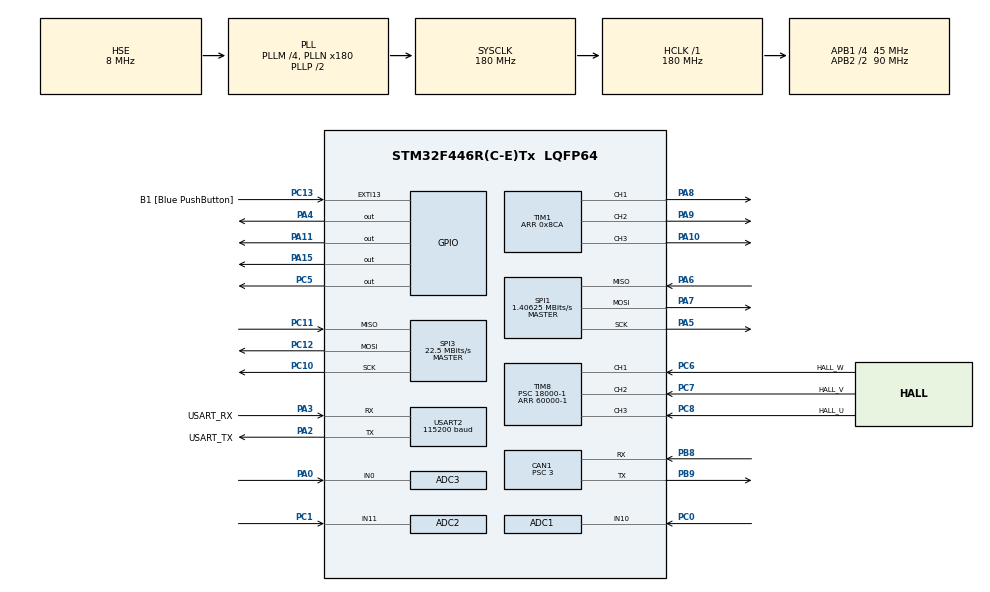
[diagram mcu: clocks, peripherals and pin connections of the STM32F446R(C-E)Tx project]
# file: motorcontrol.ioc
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ADC1.Channel-0\#ChannelRegularConversion=ADC_CHANNEL_10
ADC1.ClockPrescaler=ADC_CLOCK_SYNC_PCLK_DIV4
ADC1.EOCSelection=ADC_EOC_SEQ_CONV
ADC1.ExternalTrigConv=ADC_SOFTWARE_START
ADC1.Mode=ADC_TRIPLEMODE_REGSIMULT
ADC1.NbrOfConversion=1
ADC1.NbrOfConversionFlag=1
ADC1.Rank-0\#ChannelRegularConversion=1
ADC1.SamplingTime-0\#ChannelRegularConversion=ADC_SAMPLETIME_3CYCLES
ADC1.master=1
ADC2.Channel-0\#ChannelRegularConversion=ADC_CHANNEL_11
ADC2.ClockPrescaler=ADC_CLOCK_SYNC_PCLK_DIV4
ADC2.EOCSelection=ADC_EOC_SEQ_CONV
ADC2.Mode=ADC_TRIPLEMODE_REGSIMULT
ADC2.NbrOfConversionFlag=1
ADC2.Rank-0\#ChannelRegularConversion=1
ADC2.SamplingTime-0\#ChannelRegularConversion=ADC_SAMPLETIME_3CYCLES
ADC3.Channel-2\#ChannelRegularConversion=ADC_CHANNEL_0
ADC3.ClockPrescaler=ADC_CLOCK_SYNC_PCLK_DIV4
ADC3.EOCSelection=ADC_EOC_SEQ_CONV
ADC3.Mode=ADC_TRIPLEMODE_REGSIMULT
ADC3.NbrOfConversionFlag=1
ADC3.Rank-2\#ChannelRegularConversion=1
ADC3.SamplingTime-2\#ChannelRegularConversion=ADC_SAMPLETIME_3CYCLES
CAN1.BS1=CAN_BS1_12TQ
CAN1.BS2=CAN_BS2_2TQ
CAN1.CalculateBaudRate=1000000
CAN1.CalculateTimeBit=1000
CAN1.CalculateTimeQuantum=66.66666666666666
CAN1.Prescaler=3
Mcu.Family=STM32F4
Mcu.Name=STM32F446R(C-E)Tx
Mcu.Package=LQFP64
NVIC.CAN1_RX0_IRQn=true\:0\:0\:false\:false\:true\:true\:true\:true
NVIC.PriorityGroup=NVIC_PRIORITYGROUP_0
NVIC.TIM1_UP_TIM10_IRQn=true\:0\:0\:false\:false\:true\:true\:true\:true
NVIC.TIM8_CC_IRQn=true\:0\:0\:false\:false\:true\:true\:true\:true
NVIC.USART2_IRQn=true\:0\:0\:false\:false\:true\:true\:true\:true
PA0-WKUP.Signal=ADCx_IN0
PA10.GPIO_Speed=GPIO_SPEED_FREQ_VERY_HIGH
PA10.Signal=S_TIM1_CH3
PA11.GPIO_Speed=GPIO_SPEED_FREQ_VERY_HIGH
PA11.Signal=GPIO_Output
PA13.GPIO_Label=TMS
PA13.Mode=Serial_Wire
PA13.Signal=SYS_JTMS-SWDIO
PA14.GPIO_Label=TCK
PA14.Mode=Serial_Wire
PA14.Signal=SYS_JTCK-SWCLK
PA15.GPIO_Speed=GPIO_SPEED_FREQ_VERY_HIGH
PA15.Signal=GPIO_Output
PA2.GPIO_Label=USART_TX
PA2.Mode=Asynchronous
PA2.Signal=USART2_TX
PA3.GPIO_Label=USART_RX
PA3.Mode=Asynchronous
PA3.Signal=USART2_RX
PA4.GPIO_Speed=GPIO_SPEED_FREQ_VERY_HIGH
PA4.Signal=GPIO_Output
PA5.Mode=Full_Duplex_Master
PA5.Signal=SPI1_SCK
PA6.Mode=Full_Duplex_Master
PA6.Signal=SPI1_MISO
PA7.Mode=Full_Duplex_Master
PA7.Signal=SPI1_MOSI
PA8.GPIO_Speed=GPIO_SPEED_FREQ_VERY_HIGH
PA8.Signal=S_TIM1_CH1
PA9.GPIO_Speed=GPIO_SPEED_FREQ_VERY_HIGH
PA9.Signal=S_TIM1_CH2
PB3.GPIO_Label=SWO
PB3.Signal=SYS_JTDO-SWO
PB8.Mode=CAN_Activate
PB8.Signal=CAN1_RX
PB9.Mode=CAN_Activate
PB9.Signal=CAN1_TX
PC0.Signal=ADCx_IN10
PC1.Signal=ADCx_IN11
PC10.Mode=Full_Duplex_Master
PC10.Signal=SPI3_SCK
PC11.Mode=Full_Duplex_Master
PC11.Signal=SPI3_MISO
PC12.Mode=Full_Duplex_Master
PC12.Signal=SPI3_MOSI
PC13.GPIO_Label=B1 [Blue PushButton]
PC13.GPIO_ModeDefaultEXTI=GPIO_MODE_IT_FALLING
PC13.Signal=GPXTI13
PC5.GPIO_Speed=GPIO_SPEED_FREQ_VERY_HIGH
PC5.Signal=GPIO_Output
PC6.GPIO_Label=HALL_W
PC6.GPIO_PuPd=GPIO_PULLUP
PC6.Signal=S_TIM8_CH1
PC7.GPIO_Label=HALL_V
PC7.GPIO_PuPd=GPIO_PULLUP
PC7.Signal=S_TIM8_CH2
PC8.GPIO_Label=HALL_U
PC8.GPIO_PuPd=GPIO_PULLUP
PC8.Signal=S_TIM8_CH3
PH0-OSC_IN.Mode=HSE-External-Oscillator
PH0-OSC_IN.Signal=RCC_OSC_IN
PH1-OSC_OUT.Mode=HSE-External-Oscillator
PH1-OSC_OUT.Signal=RCC_OSC_OUT
ProjectManager.HeapSize=0x200
ProjectManager.StackSize=0x400
ProjectManager.TargetToolchain=STM32CubeIDE
RCC.48MHZClocksFreq_Value=84000000
RCC.AHBFreq_Value=180000000
RCC.APB1CLKDivider=RCC_HCLK_DIV4
RCC.APB1Freq_Value=45000000
RCC.APB1TimFreq_Value=90000000
RCC.APB2CLKDivider=RCC_HCLK_DIV2
RCC.APB2Freq_Value=90000000
RCC.APB2TimFreq_Value=180000000
RCC.CortexFreq_Value=180000000
RCC.FLatency-AdvancedSettings=FLASH_LATENCY_5
RCC.HCLKFreq_Value=180000000
RCC.HSE_VALUE=8000000
RCC.HSI_VALUE=16000000
RCC.PLLM=4
RCC.PLLN=180
RCC.PLLSourceVirtual=RCC_PLLSOURCE_HSE
RCC.SYSCLKFreq_VALUE=180000000
RCC.SYSCLKSource=RCC_SYSCLKSOURCE_PLLCLK
RCC.USBFreq_Value=180000000
RCC.VCOOutputFreq_Value=360000000
SH.ADCx_IN0.0=ADC3_IN0,IN0
SH.ADCx_IN10.0=ADC1_IN10,IN10
SH.ADCx_IN11.0=ADC2_IN11,IN11
SH.S_TIM1_CH1.0=TIM1_CH1,PWM Generation1 CH1
SH.S_TIM1_CH2.0=TIM1_CH2,PWM Generation2 CH2
SH.S_TIM1_CH3.0=TIM1_CH3,PWM Generation3 CH3
SH.S_TIM8_CH1.0=TIM8_CH1,Xored_Inputs_Hall_Sensor_Interface
SH.S_TIM8_CH2.0=TIM8_CH2,Xored_Inputs_Hall_Sensor_Interface
SH.S_TIM8_CH3.0=TIM8_CH3,Xored_Inputs_Hall_Sensor_Interface
SPI1.BaudRatePrescaler=SPI_BAUDRATEPRESCALER_64
SPI1.CLKPhase=SPI_PHASE_2EDGE
SPI1.CalculateBaudRate=1.40625 MBits/s
SPI1.DataSize=SPI_DATASIZE_16BIT
SPI1.Direction=SPI_DIRECTION_2LINES
SPI1.FirstBit=SPI_FIRSTBIT_MSB
SPI1.Mode=SPI_MODE_MASTER
SPI1.VirtualType=VM_MASTER
SPI3.BaudRatePrescaler=SPI_BAUDRATEPRESCALER_2
SPI3.CalculateBaudRate=22.5 MBits/s
SPI3.DataSize=SPI_DATASIZE_16BIT
SPI3.Direction=SPI_DIRECTION_2LINES
SPI3.Mode=SPI_MODE_MASTER
SPI3.VirtualType=VM_MASTER
TIM1.AutoReloadPreload=TIM_AUTORELOAD_PRELOAD_ENABLE
TIM1.BreakPolarity=TIM_BREAKPOLARITY_HIGH
TIM1.Channel-PWM\ Generation1\ CH1=TIM_CHANNEL_1
TIM1.Channel-PWM\ Generation2\ CH2=TIM_CHANNEL_2
TIM1.Channel-PWM\ Generation3\ CH3=TIM_CHANNEL_3
TIM1.CounterMode=TIM_COUNTERMODE_CENTERALIGNED1
TIM1.OCFastMode_PWM-PWM\ Generation1\ CH1=TIM_OCFAST_ENABLE
TIM1.OCFastMode_PWM-PWM\ Generation2\ CH2=TIM_OCFAST_ENABLE
TIM1.OCFastMode_PWM-PWM\ Generation3\ CH3=TIM_OCFAST_ENABLE
TIM1.OCPolarity_1=TIM_OCPOLARITY_LOW
TIM1.OCPolarity_2=TIM_OCPOLARITY_LOW
TIM1.OCPolarity_3=TIM_OCPOLARITY_LOW
TIM1.Period=0x8CA
TIM1.RepetitionCounter=1
TIM8.Period=60000-1
TIM8.Prescaler=18000-1
USART2.BaudRate=115200
USART2.VirtualMode=VM_ASYNC
VP_TIM1_VS_ClockSourceINT.Mode=Internal
VP_TIM8_VS_ClockSourceINT.Mode=Internal
board=NUCLEO-F446RE

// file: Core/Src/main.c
/* USER CODE BEGIN Header */
/**
 ******************************************************************************
 * @file           : main.c
 * @brief          : Main program body
 ******************************************************************************
 * @attention
 *
 * <h2><center>&copy; Copyright (c) 2020 STMicroelectronics.
 * All rights reserved.</center></h2>
 *
 * This software component is licensed by ST under BSD 3-Clause license,
 * the "License"; You may not use this file except in compliance with the
 * License. You may obtain a copy of the License at:
 *                        opensource.org/licenses/BSD-3-Clause
 *
 ******************************************************************************
 */

/// high-bandwidth 3-phase motor control for robots
/// Written by Ben Katz, with much inspiration from Bayley Wang, Nick Kirkby, Shane Colton, David
/// Otten, and others Hardware documentation can be found at build-its.blogspot.com

/* USER CODE END Header */
#include "main.h"

#include "adc.h"
#include "can.h"
#include "gpio.h"
#include "spi.h"
#include "tim.h"
#include "usart.h"

/* USER CODE BEGIN Includes */
#include <stdio.h>
#include <string.h>

#include "calibration.h"
#include "drv8323.h"
#include "encoder_struct.h"
#include "flash_writer.h"
#include "foc.h"
#include "fsm.h"
#include "hall_sensor.h"
#include "hw_config.h"
#include "math_ops.h"
#include "position_sensor.h"
#include "preference_writer.h"
#include "stm32f4xx_flash.h"
#include "structs.h"
#include "user_config.h"
/* USER CODE END Includes */

/* USER CODE BEGIN PM */

#define VERSION_NUM 3.0f

/* USER CODE END PM */

/* USER CODE BEGIN PV */

/* Flash Registers */
float __float_reg[FLOAT_REG_SIZE];
int __int_reg[INT_REG_SIZE];
PreferenceWriter prefs;

int count = 0;

/* Structs for control, etc */

ControllerStruct controller;
ObserverStruct observer;
COMStruct com;
FSMStruct state;

BasicEncoderStruct basic_encoder;
AbsEncoderStruct abs_encoder;
HallSensorStruct hall_sensor;

DRVStruct drv;
CalStruct comm_encoder_cal;
CANTxMessage can_tx;
CANRxMessage can_rx;

/* init but don't allocate calibration arrays */
int * error_array = NULL;
int * lut_array = NULL;

uint8_t Serial2RxBuffer[1];

/* USER CODE END PV */

void SystemClock_Config(void);

int main(void)
{

  /* MCU Configuration--------------------------------------------------------*/

  /* Reset of all peripherals, Initializes the Flash interface and the Systick. */
  HAL_Init();

  /* Configure the system clock */
  SystemClock_Config();

  /* Initialize all configured peripherals */
  MX_GPIO_Init();
  MX_USART2_UART_Init();
  MX_TIM1_Init();
  MX_CAN1_Init();
  MX_SPI1_Init();
  MX_SPI3_Init();
  MX_ADC1_Init();
  MX_ADC2_Init();
  MX_ADC3_Init();
  MX_TIM8_Init();
  /* USER CODE BEGIN 2 */
  HAL_GPIO_WritePin(LED, GPIO_PIN_SET);

  /* Load settings from flash */
  preference_writer_init(&prefs, 6);
  preference_writer_load(prefs);

  /* Sanitize configs in case flash is empty*/
  if (E_ZERO == -1) {
    E_ZERO = 0;
  }
  if (M_ZERO == -1) {
    M_ZERO = 0;
  }
  if (isnan(I_BW) || I_BW == -1) {
    I_BW = 1000;
  }
  if (isnan(I_MAX) || I_MAX == -1) {
    I_MAX = 40;
  }
  if (isnan(I_FW_MAX) || I_FW_MAX == -1) {
    I_FW_MAX = 0;
  }
  if (CAN_ID == -1) {
    CAN_ID = 1;
  }
  if (CAN_MASTER == -1) {
    CAN_MASTER = 0;
  }
  if (CAN_TIMEOUT == -1) {
    CAN_TIMEOUT = 1000;
  }
  if (isnan(R_NOMINAL) || R_NOMINAL == -1) {
    R_NOMINAL = 0.0f;
  }
  if (isnan(TEMP_MAX) || TEMP_MAX == -1) {
    TEMP_MAX = 125.0f;
  }
  if (isnan(I_MAX_CONT) || I_MAX_CONT == -1) {
    I_MAX_CONT = 14.0f;
  }
  if (isnan(I_CAL) || I_CAL == -1) {
    I_CAL = 5.0f;
  }
  if (isnan(PPAIRS) || PPAIRS == -1) {
    PPAIRS = 21.0f;
  }
  if (isnan(GR) || GR == -1) {
    GR = 1.0f;
  }
  if (isnan(KT) || KT == -1) {
    KT = 1.0f;
  }
  if (isnan(KP_MAX) || KP_MAX == -1) {
    KP_MAX = 500.0f;
  }
  if (isnan(KD_MAX) || KD_MAX == -1) {
    KD_MAX = 5.0f;
  }
  if (isnan(P_MAX)) {
    P_MAX = 12.5f;
  }
  if (isnan(P_MIN)) {
    P_MIN = -12.5f;
  }
  if (isnan(V_MAX)) {
    V_MAX = 65.0f;
  }
  if (isnan(V_MIN)) {
    V_MIN = -65.0f;
  }
  if (ENCODER_TYPE == -1) {
    ENCODER_TYPE = 1;
  }

  printf("\r\nFirmware Version Number: %.2f\r\n", VERSION_NUM);

  /* Controller Setup */
  if (PHASE_ORDER) {  // Timer channel to phase mapping
  } else {
  }

  init_controller_params(&controller);

  /* calibration "encoder" zeroing */
  memset(&comm_encoder_cal.cal_position, 0, sizeof(BasicEncoderStruct));

  if (ENCODER_TYPE == ENCODER_ABS) {
    /* commutation encoder setup */
    abs_encoder.m_zero = M_ZERO;
    abs_encoder.e_zero = E_ZERO;
    abs_encoder.ppairs = PPAIRS;

    if (EN_ENC_LINEARIZATION) {
      memcpy(&abs_encoder.offset_lut, &ENCODER_LUT, sizeof(abs_encoder.offset_lut));
    }  // Copy the linearization lookup table
    else {
      memset(&abs_encoder.offset_lut, 0, sizeof(abs_encoder.offset_lut));
    }
    ps_warmup(&abs_encoder, 100);  // clear the noisy data when the encoder first turns on
  } else if (ENCODER_TYPE == ENCODER_HALL) {
    hall_sensor_init(&hall_sensor, hall_sensor_get_state_from_gpio(), 14);
    // HAL_TIM_IC_Start_IT(&htim8, TIM_CHANNEL_1); // Start the Hall sensor timer
    HAL_TIMEx_HallSensor_Start_IT(&htim8);
  }
  // for(int i = 0; i<128; i++){printf("%d\r\n", comm_encoder.offset_lut[i]);}

  /* Turn on ADCs */
  HAL_ADC_Start(&hadc1);
  HAL_ADC_Start(&hadc2);
  HAL_ADC_Start(&hadc3);

  /* DRV8323 setup */
  HAL_GPIO_WritePin(DRV_CS, GPIO_PIN_SET);  // CS high
  HAL_GPIO_WritePin(ENABLE_PIN, GPIO_PIN_SET);
  HAL_Delay(1);
  // drv_calibrate(drv);
  HAL_Delay(1);
  drv_write_DCR(drv, 0x0, DIS_GDF_EN, 0x0, PWM_MODE_3X, 0x0, 0x0, 0x0, 0x0, 0x1);
  HAL_Delay(1);
  int CSA_GAIN;
  if (I_MAX <= 40.0f) {
    CSA_GAIN = CSA_GAIN_40;
  }  // Up to 40A use 40X amplifier gain
  else {
    CSA_GAIN = CSA_GAIN_20;
  }  // From 40-60A use 20X amplifier gain.  (Make this generic in the future)
  drv_write_CSACR(drv, 0x0, 0x1, 0x0, CSA_GAIN_40, 0x0, 0x1, 0x1, 0x1, SEN_LVL_0_25);
  HAL_Delay(1);
  drv_write_CSACR(drv, 0x0, 0x1, 0x0, CSA_GAIN, 0x1, 0x0, 0x0, 0x0, SEN_LVL_0_25);
  HAL_Delay(1);
  zero_current(&controller);
  HAL_Delay(1);
  drv_write_OCPCR(drv, TRETRY_50US, DEADTIME_50NS, OCP_RETRY, OCP_DEG_8US, VDS_LVL_0_45);
  HAL_Delay(1);
  drv_disable_gd(drv);
  HAL_Delay(1);

  // drv_enable_gd(drv);   */
  printf(
    "ADC A OFFSET: %d     ADC B OFFSET: %d\r\n", controller.adc_a_offset, controller.adc_b_offset);

  /* Turn on PWM */
  HAL_TIM_PWM_Start(&htim1, TIM_CHANNEL_1);
  HAL_TIM_PWM_Start(&htim1, TIM_CHANNEL_2);
  HAL_TIM_PWM_Start(&htim1, TIM_CHANNEL_3);

  /* CAN setup */
  can_rx_init(&can_rx);
  can_tx_init(&can_tx);
  HAL_CAN_Start(&CAN_H);  // start CAN
  //__HAL_CAN_ENABLE_IT(&CAN_H, CAN_IT_RX_FIFO0_MSG_PENDING); // Start can interrupt

  /* Set Interrupt Priorities */
  HAL_NVIC_SetPriority(PWM_ISR, 0x0, 0x0);  // commutation > communication
  HAL_NVIC_SetPriority(CAN_ISR, 0x01, 0x01);

  /* Start the FSM */
  state.state = MENU_MODE;
  state.next_state = MENU_MODE;
  state.ready = 1;

  /* Turn on interrupts */
  HAL_UART_Receive_IT(&huart2, (uint8_t *)Serial2RxBuffer, 1);
  HAL_TIM_Base_Start_IT(&htim1);

  /* USER CODE END 2 */

  /* Infinite loop */
  /* USER CODE BEGIN WHILE */
  while (1) {
    drv_print_faults(drv);
    // uint32_t TxMailbox=0;
    // HAL_CAN_AddTxMessage(&CAN_H, &can_tx.tx_header, can_tx.data, &TxMailbox)
    // if(state.state==MOTOR_MODE){
    // printf("%.2f %.2f %.2f %.2f %.2f\r\n", controller.p_des, controller.v_des, controller.kp,
    // controller.kd, controller.t_ff);
    //}
    HAL_Delay(1000);
    /* USER CODE END WHILE */

  }
}

void SystemClock_Config(void)
{
  RCC_OscInitTypeDef RCC_OscInitStruct = {0};
  RCC_ClkInitTypeDef RCC_ClkInitStruct = {0};

  /** Configure the main internal regulator output voltage
   */
  __HAL_RCC_PWR_CLK_ENABLE();
  __HAL_PWR_VOLTAGESCALING_CONFIG(PWR_REGULATOR_VOLTAGE_SCALE1);

  /** Initializes the RCC Oscillators according to the specified parameters
   * in the RCC_OscInitTypeDef structure.
   */
  RCC_OscInitStruct.OscillatorType = RCC_OSCILLATORTYPE_HSE;
  RCC_OscInitStruct.HSEState = RCC_HSE_ON;
  RCC_OscInitStruct.PLL.PLLState = RCC_PLL_ON;
  RCC_OscInitStruct.PLL.PLLSource = RCC_PLLSOURCE_HSE;
  RCC_OscInitStruct.PLL.PLLM = 4;
  RCC_OscInitStruct.PLL.PLLN = 180;
  RCC_OscInitStruct.PLL.PLLP = RCC_PLLP_DIV2;
  RCC_OscInitStruct.PLL.PLLQ = 2;
  RCC_OscInitStruct.PLL.PLLR = 2;
  if (HAL_RCC_OscConfig(&RCC_OscInitStruct) != HAL_OK) {
    Error_Handler();
  }

  /** Activate the Over-Drive mode
   */
  if (HAL_PWREx_EnableOverDrive() != HAL_OK) {
    Error_Handler();
  }

  /** Initializes the CPU, AHB and APB buses clocks
   */
  RCC_ClkInitStruct.ClockType =
    RCC_CLOCKTYPE_HCLK | RCC_CLOCKTYPE_SYSCLK | RCC_CLOCKTYPE_PCLK1 | RCC_CLOCKTYPE_PCLK2;
  RCC_ClkInitStruct.SYSCLKSource = RCC_SYSCLKSOURCE_PLLCLK;
  RCC_ClkInitStruct.AHBCLKDivider = RCC_SYSCLK_DIV1;
  RCC_ClkInitStruct.APB1CLKDivider = RCC_HCLK_DIV4;
  RCC_ClkInitStruct.APB2CLKDivider = RCC_HCLK_DIV2;

  if (HAL_RCC_ClockConfig(&RCC_ClkInitStruct, FLASH_LATENCY_5) != HAL_OK) {
    Error_Handler();
  }
}

/* USER CODE BEGIN 4 */
void HAL_TIM_IC_CaptureCallback(TIM_HandleTypeDef * htim)
{
  if (htim->Instance == TIM8)  // If the interrupt is from TIM8
  {
    hall_sensor_update(
      &hall_sensor, hall_sensor_get_state_from_gpio(),
      htim->Instance->CCR1);  // Update the Hall sensor state
  }
}

/* USER CODE END 4 */

void Error_Handler(void)
{
}
